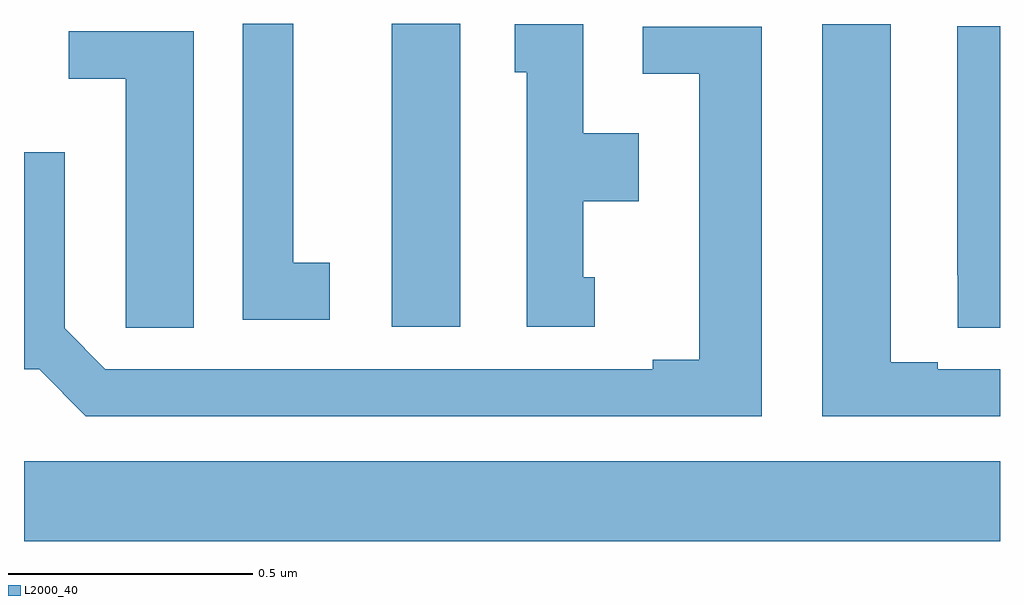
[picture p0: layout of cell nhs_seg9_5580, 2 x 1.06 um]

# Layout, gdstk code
import gdstk
lib = gdstk.Library(unit=1e-6, precision=1e-09)
def R(c, l, rs):  # rectangles x0, y0, x1, y1
    for r in rs: c.add(gdstk.rectangle(r[:2], r[2:], *l))
def P(c, l, *ps):  # polygons
    for p in ps: c.add(gdstk.Polygon(p, *l))
L2000_40 = (2000, 40)

nhs_seg9_5580 = lib.new_cell('nhs_seg9_5580')
R(nhs_seg9_5580, L2000_40, [(181,1176.44,183,1176.604), (181.754,1176.879,181.894,1177.5)])
P(nhs_seg9_5580, L2000_40, [(181.627,1177.01),(181.552,1177.01),(181.552,1177.5),(181.448,1177.5),(181.448,1176.894),(181.627,1176.894)],
  [(183,1176.792),(182.872,1176.792),(182.872,1176.807),(182.776,1176.807),(182.776,1177.499),(182.636,1177.499),(182.636,1176.696),(183,1176.696)],
  [(182.17,1176.981),(182.146,1176.981),(182.146,1177.136),(182.26,1177.136),(182.26,1177.276),(182.146,1177.276),(182.146,1177.499),(182.006,1177.499),(182.006,1177.401),(182.03,1177.401),(182.03,1176.879),(182.17,1176.879)],
  [(183,1177.495),(182.912,1177.495),(182.912,1176.985),(182.913,1176.985),(182.913,1176.877),(183,1176.877)],
  [(182.512,1177.494),(182.268,1177.494),(182.268,1177.398),(182.384,1177.398),(182.384,1176.812),(182.288,1176.812),(182.288,1176.792),(181.167,1176.792),(181.083,1176.876),(181.083,1177.237),(181,1177.237),(181,1176.792),(181.031,1176.792),(181.127,1176.696),(182.512,1176.696)],
  [(181.348,1177.485),(181.092,1177.485),(181.092,1177.388),(181.208,1177.388),(181.208,1176.985),(181.209,1176.985),(181.209,1176.877),(181.348,1176.877)])

lib.write_gds('nhs_seg9_5580.gds')
